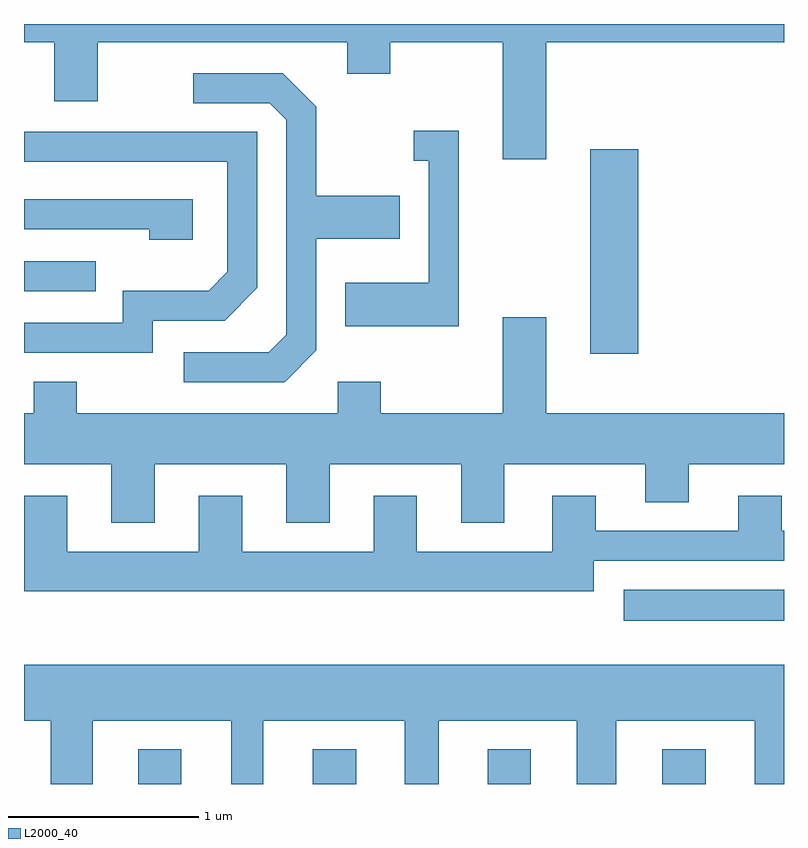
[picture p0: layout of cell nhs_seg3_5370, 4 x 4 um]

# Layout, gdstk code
import gdstk
lib = gdstk.Library(unit=1e-6, precision=1e-09)
def R(c, l, rs):  # rectangles x0, y0, x1, y1
    for r in rs: c.add(gdstk.rectangle(r[:2], r[2:], *l))
def A(c, l, x, y, w, h, nx, ny, dx, dy):  # array of equal rectangles
    R(c, l, [(x+i*dx, y+j*dy, x+i*dx+w, y+j*dy+h) for i in range(nx) for j in range(ny)])
def P(c, l, *ps):  # polygons
    for p in ps: c.add(gdstk.Polygon(p, *l))
L2000_40 = (2000, 40)

nhs_seg3_5370 = lib.new_cell('nhs_seg3_5370')
A(nhs_seg3_5370, L2000_40, 344.211, 1119.892, 0.228, 0.182, 4, 1, 0.92, 0)
R(nhs_seg3_5370, L2000_40, [(346.768,1120.751,347.611,1120.914), (346.591,1122.156,346.844,1123.234), (343.611,1122.486,343.988,1122.644)])
P(nhs_seg3_5370, L2000_40, [(346.359,1123.796),(347.611,1123.796),(347.611,1123.892),(343.611,1123.892),(343.611,1123.796),(343.771,1123.796),(343.771,1123.486),(343.999,1123.486),(343.999,1123.796),(345.311,1123.796),(345.311,1123.631),(345.539,1123.631),(345.539,1123.796),(346.131,1123.796),(346.131,1123.181),(346.359,1123.181)],
  [(344.988,1122.013),(345.149,1122.174),(345.149,1122.761),(345.589,1122.761),(345.589,1122.989),(345.149,1122.989),(345.149,1123.457),(344.972,1123.634),(344.503,1123.634),(344.503,1123.476),(344.904,1123.476),(344.991,1123.389),(344.991,1122.257),(344.899,1122.164),(344.453,1122.164),(344.453,1122.006),(344.982,1122.006)],
  [(345.899,1123.329),(345.663,1123.329),(345.663,1123.171),(345.741,1123.171),(345.741,1122.529),(345.301,1122.529),(345.301,1122.301),(345.899,1122.301)],
  [(344.289,1122.331),(344.667,1122.331),(344.839,1122.504),(344.839,1123.324),(343.611,1123.324),(343.611,1123.166),(344.681,1123.166),(344.681,1122.587),(344.584,1122.489),(344.131,1122.489),(344.131,1122.319),(343.611,1122.319),(343.611,1122.161),(344.289,1122.161)],
  [(344.499,1122.969),(343.611,1122.969),(343.611,1122.811),(344.271,1122.811),(344.271,1122.756),(344.499,1122.756)],
  [(344.299,1121.576),(344.991,1121.576),(344.991,1121.266),(345.219,1121.266),(345.219,1121.576),(345.911,1121.576),(345.911,1121.266),(346.139,1121.266),(346.139,1121.576),(346.881,1121.576),(346.881,1121.376),(347.109,1121.376),(347.109,1121.576),(347.611,1121.576),(347.611,1121.844),(346.359,1121.844),(346.359,1122.349),(346.131,1122.349),(346.131,1121.844),(345.489,1121.844),(345.489,1122.009),(345.261,1122.009),(345.261,1121.844),(343.889,1121.844),(343.889,1122.009),(343.661,1122.009),(343.661,1121.844),(343.611,1121.844),(343.611,1121.576),(344.071,1121.576),(344.071,1121.266),(344.299,1121.266)],
  [(346.609,1121.066),(347.611,1121.066),(347.611,1121.224),(347.599,1121.224),(347.599,1121.409),(347.371,1121.409),(347.371,1121.224),(346.619,1121.224),(346.619,1121.409),(346.391,1121.409),(346.391,1121.114),(345.679,1121.114),(345.679,1121.409),(345.451,1121.409),(345.451,1121.114),(344.759,1121.114),(344.759,1121.409),(344.531,1121.409),(344.531,1121.114),(343.839,1121.114),(343.839,1121.409),(343.611,1121.409),(343.611,1120.906),(346.609,1120.906)],
  [(343.974,1120.226),(344.701,1120.226),(344.701,1119.892),(344.869,1119.892),(344.869,1120.226),(345.616,1120.226),(345.616,1119.892),(345.794,1119.892),(345.794,1120.226),(346.521,1120.226),(346.521,1119.892),(346.729,1119.892),(346.729,1120.226),(347.456,1120.226),(347.456,1119.892),(347.611,1119.892),(347.611,1120.519),(343.611,1120.519),(343.611,1120.226),(343.751,1120.226),(343.751,1119.892),(343.974,1119.892)])

lib.write_gds('nhs_seg3_5370.gds')
